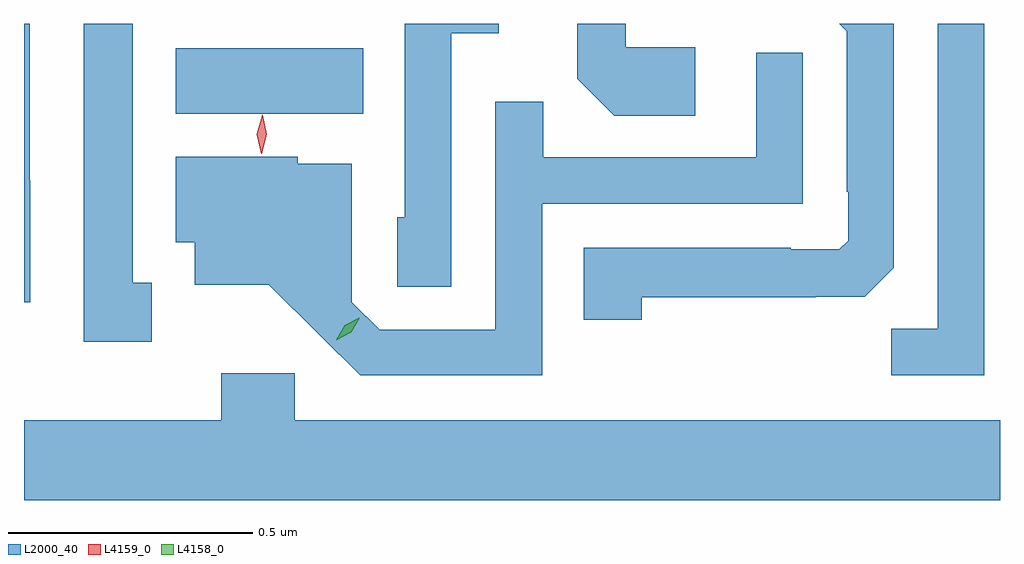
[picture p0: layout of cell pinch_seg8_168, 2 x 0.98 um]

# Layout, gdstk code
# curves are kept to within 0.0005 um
import gdstk
lib = gdstk.Library(unit=1e-6, precision=1e-09)
def R(c, l, rs):  # rectangles x0, y0, x1, y1
    for r in rs: c.add(gdstk.rectangle(r[:2], r[2:], *l))
def P(c, l, *ps):  # polygons
    for p in ps: c.add(gdstk.Polygon(p, *l))
L2000_40 = (2000, 40)
L4158_0 = (4158, 0)
L4159_0 = (4159, 0)

pinch_seg8_168 = lib.new_cell('pinch_seg8_168')
R(pinch_seg8_168, L2000_40, [(706.802,1162.58,707.186,1162.714)])
P(pinch_seg8_168, L2000_40, [(706.753,1162.233),(706.714,1162.233),(706.714,1162.764),(706.613,1162.764),(706.613,1162.113),(706.753,1162.113)],
  [(707.866,1162.716),(707.724,1162.716),(707.724,1162.764),(707.625,1162.764),(707.625,1162.652),(707.701,1162.576),(707.866,1162.576)],
  [(707.367,1162.745),(707.464,1162.745),(707.464,1162.764),(707.271,1162.764),(707.271,1162.368),(707.256,1162.368),(707.256,1162.225),(707.367,1162.225)],
  [(708.459,1162.764),(708.363,1162.764),(708.363,1162.139),(708.268,1162.139),(708.268,1162.044),(708.459,1162.044)],
  [(707.757,1162.204),(708.113,1162.204),(708.113,1162.205),(708.214,1162.205),(708.273,1162.264),(708.273,1162.764),(708.162,1162.764),(708.177,1162.749),(708.177,1162.42),(708.18,1162.42),(708.18,1162.32),(708.162,1162.302),(708.062,1162.302),(708.062,1162.305),(707.638,1162.305),(707.638,1162.158),(707.757,1162.158)],
  [(706.504,1162.442),(706.503,1162.442),(706.503,1162.764),(706.491,1162.764),(706.491,1162.194),(706.504,1162.194)],
  [(707.553,1162.395),(708.087,1162.395),(708.087,1162.705),(707.991,1162.705),(707.991,1162.491),(707.555,1162.491),(707.555,1162.604),(707.457,1162.604),(707.457,1162.137),(707.22,1162.137),(707.163,1162.194),(707.163,1162.477),(707.052,1162.477),(707.052,1162.492),(706.802,1162.492),(706.802,1162.316),(706.841,1162.316),(706.841,1162.229),(706.993,1162.229),(707.18,1162.044),(707.553,1162.044)],
  [(708.491,1161.952),(707.046,1161.952),(707.046,1162.048),(706.895,1162.048),(706.895,1161.952),(706.491,1161.952),(706.491,1161.788),(708.491,1161.788)])
P(pinch_seg8_168, L4158_0, [(707.131,1162.116),(707.131,1162.117),(707.148,1162.146),(707.178,1162.162),(707.179,1162.162),(707.179,1162.162),(707.162,1162.132),(707.131,1162.116)])
P(pinch_seg8_168, L4159_0, [(706.977,1162.498),(706.968,1162.538),(706.979,1162.577),(706.979,1162.578),(706.98,1162.577),(706.988,1162.538),(706.978,1162.498),(706.978,1162.498)])

lib.write_gds('pinch_seg8_168.gds')
